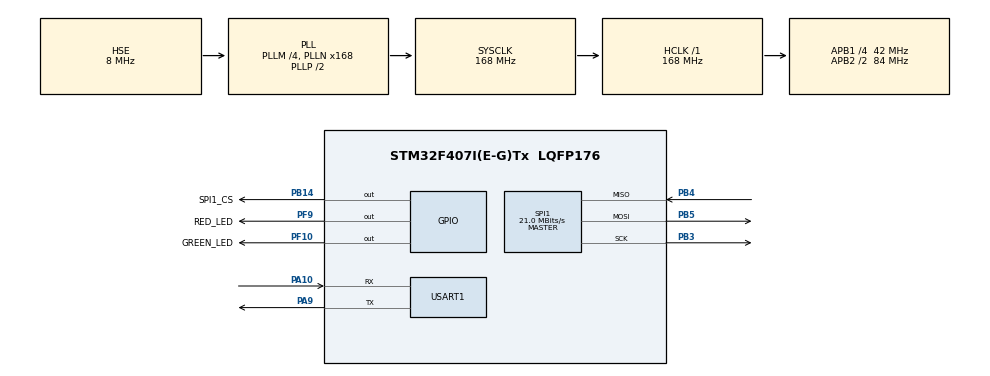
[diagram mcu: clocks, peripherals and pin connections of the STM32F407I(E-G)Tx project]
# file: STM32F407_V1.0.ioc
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Mcu.Family=STM32F4
Mcu.Name=STM32F407I(E-G)Tx
Mcu.Package=LQFP176
NVIC.PriorityGroup=NVIC_PRIORITYGROUP_4
NVIC.TIM6_DAC_IRQn=true\:15\:0\:false\:false\:true\:false\:true\:true
NVIC.TimeBase=TIM6_DAC_IRQn
NVIC.TimeBaseIP=TIM6
PA10.Mode=Asynchronous
PA10.Signal=USART1_RX
PA13.Mode=Serial_Wire
PA13.Signal=SYS_JTMS-SWDIO
PA14.Mode=Serial_Wire
PA14.Signal=SYS_JTCK-SWCLK
PA9.Mode=Asynchronous
PA9.Signal=USART1_TX
PB14.GPIO_Label=SPI1_CS
PB14.GPIO_Speed=GPIO_SPEED_FREQ_VERY_HIGH
PB14.PinState=GPIO_PIN_SET
PB14.Signal=GPIO_Output
PB3.Mode=Full_Duplex_Master
PB3.Signal=SPI1_SCK
PB4.Mode=Full_Duplex_Master
PB4.Signal=SPI1_MISO
PB5.Mode=Full_Duplex_Master
PB5.Signal=SPI1_MOSI
PC14-OSC32_IN.Mode=LSE-External-Oscillator
PC14-OSC32_IN.Signal=RCC_OSC32_IN
PC15-OSC32_OUT.Mode=LSE-External-Oscillator
PC15-OSC32_OUT.Signal=RCC_OSC32_OUT
PF10.GPIO_Label=GREEN_LED
PF10.GPIO_Speed=GPIO_SPEED_FREQ_MEDIUM
PF10.PinState=GPIO_PIN_SET
PF10.Signal=GPIO_Output
PF9.GPIO_Label=RED_LED
PF9.GPIO_Speed=GPIO_SPEED_FREQ_MEDIUM
PF9.PinState=GPIO_PIN_SET
PF9.Signal=GPIO_Output
PH0-OSC_IN.Mode=HSE-External-Oscillator
PH0-OSC_IN.Signal=RCC_OSC_IN
PH1-OSC_OUT.Mode=HSE-External-Oscillator
PH1-OSC_OUT.Signal=RCC_OSC_OUT
ProjectManager.HeapSize=0x200
ProjectManager.StackSize=0x400
ProjectManager.TargetToolchain=MDK-ARM V5.32
RCC.48MHZClocksFreq_Value=84000000
RCC.AHBFreq_Value=168000000
RCC.APB1CLKDivider=RCC_HCLK_DIV4
RCC.APB1Freq_Value=42000000
RCC.APB1TimFreq_Value=84000000
RCC.APB2CLKDivider=RCC_HCLK_DIV2
RCC.APB2Freq_Value=84000000
RCC.APB2TimFreq_Value=168000000
RCC.CortexFreq_Value=168000000
RCC.HCLKFreq_Value=168000000
RCC.HSE_VALUE=8000000
RCC.HSI_VALUE=16000000
RCC.PLLM=4
RCC.PLLN=168
RCC.PLLSourceVirtual=RCC_PLLSOURCE_HSE
RCC.RCC_RTC_Clock_SourceVirtual=RCC_RTCCLKSOURCE_LSE
RCC.RCC_RTC_Clock_Source_FROM_HSE=RCC_RTCCLKSOURCE_HSE_DIV8
RCC.SYSCLKFreq_VALUE=168000000
RCC.SYSCLKSource=RCC_SYSCLKSOURCE_PLLCLK
RCC.VCOOutputFreq_Value=336000000
RTC.Date=1
RTC.Format=RTC_FORMAT_BIN
RTC.Hours=9
RTC.Minutes=10
RTC.Month=RTC_MONTH_JULY
RTC.WeekDay=RTC_WEEKDAY_WEDNESDAY
RTC.Year=25
SPI1.BaudRatePrescaler=SPI_BAUDRATEPRESCALER_4
SPI1.CLKPhase=SPI_PHASE_2EDGE
SPI1.CLKPolarity=SPI_POLARITY_HIGH
SPI1.CalculateBaudRate=21.0 MBits/s
SPI1.Direction=SPI_DIRECTION_2LINES
SPI1.Mode=SPI_MODE_MASTER
SPI1.VirtualType=VM_MASTER
USART1.VirtualMode=VM_ASYNC
VP_RTC_VS_RTC_Activate.Mode=RTC_Enabled
VP_RTC_VS_RTC_Calendar.Mode=RTC_Calendar
VP_SYS_VS_tim6.Mode=TIM6
board=custom

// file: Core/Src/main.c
/* USER CODE BEGIN Header */
/**
 ******************************************************************************
 * @file           : main.c
 * @brief          : Main program body
 ******************************************************************************
 * @attention
 *
 * Copyright (c) 2025 STMicroelectronics.
 * All rights reserved.
 *
 * This software is licensed under terms that can be found in the LICENSE file
 * in the root directory of this software component.
 * If no LICENSE file comes with this software, it is provided AS-IS.
 *
 ******************************************************************************
 */
/* USER CODE END Header */
#include "main.h"
#include "rtc.h"
#include "spi.h"
#include "usart.h"
#include "gpio.h"

/* USER CODE BEGIN Includes */
#include "sfud.h"
#include <stdio.h>
#include <stdlib.h>
#include "sfud_app.h"
#include "dwt.h"
#include "flashdb_app.h"

/* USER CODE END Includes */

/* USER CODE BEGIN PTD */
#define SFUD_DEMO_TEST_BUFFER_SIZE 10 * 1024
/* USER CODE END PTD */

/* USER CODE BEGIN PD */
static uint8_t sfud_demo_test_buf[SFUD_DEMO_TEST_BUFFER_SIZE];
/* USER CODE END PD */

void SystemClock_Config(void);

int main(void)
{

  /* USER CODE BEGIN 1 */
  static RTC_TimeTypeDef time;
  static RTC_DateTypeDef date;
  /* USER CODE END 1 */

  /* MCU Configuration--------------------------------------------------------*/

  /* Reset of all peripherals, Initializes the Flash interface and the Systick. */
  HAL_Init();

  /* Configure the system clock */
  SystemClock_Config();

  /* Initialize all configured peripherals */
  MX_GPIO_Init();
  MX_RTC_Init();
  MX_USART1_UART_Init();
  MX_SPI1_Init();
  /* USER CODE BEGIN 2 */
  DWT_Init(); /* DWT 初始化 */

  // printf("HelloWorld!\r\n");
  HAL_RTC_GetTime(&hrtc, &time, RTC_FORMAT_BIN);
  HAL_RTC_GetDate(&hrtc, &date, RTC_FORMAT_BIN);
  printf("RTC: 20%02d/%02d/%02d  %02d:%02d:%02d\r\n",
         date.Year, date.Month, date.Date, time.Hours, time.Minutes, time.Seconds);

  // if (sfud_init() != SFUD_SUCCESS)
  //   printf("sfud_init False!\r\n");
  // else
  //   sfud_demo(0, sizeof(sfud_demo_test_buf), sfud_demo_test_buf);

	spi_flash_init();

  HAL_Delay(100);
  flashdb_app_Start();
  /* USER CODE END 2 */

  /* Infinite loop */
  while (1)
  {

    /* USER CODE BEGIN 3 */
    RED_LED(0);
    HAL_Delay(50);
    RED_LED(1);
    HAL_Delay(50);
    RED_LED(0);
    HAL_Delay(50);
    RED_LED(1);
    HAL_Delay(800);
  }
  /* USER CODE END 3 */
}

void SystemClock_Config(void)
{
  RCC_OscInitTypeDef RCC_OscInitStruct = {0};
  RCC_ClkInitTypeDef RCC_ClkInitStruct = {0};

  /** Configure the main internal regulator output voltage
  */
  __HAL_RCC_PWR_CLK_ENABLE();
  __HAL_PWR_VOLTAGESCALING_CONFIG(PWR_REGULATOR_VOLTAGE_SCALE1);

  /** Initializes the RCC Oscillators according to the specified parameters
  * in the RCC_OscInitTypeDef structure.
  */
  RCC_OscInitStruct.OscillatorType = RCC_OSCILLATORTYPE_HSE|RCC_OSCILLATORTYPE_LSE;
  RCC_OscInitStruct.HSEState = RCC_HSE_ON;
  RCC_OscInitStruct.LSEState = RCC_LSE_ON;
  RCC_OscInitStruct.PLL.PLLState = RCC_PLL_ON;
  RCC_OscInitStruct.PLL.PLLSource = RCC_PLLSOURCE_HSE;
  RCC_OscInitStruct.PLL.PLLM = 4;
  RCC_OscInitStruct.PLL.PLLN = 168;
  RCC_OscInitStruct.PLL.PLLP = RCC_PLLP_DIV2;
  RCC_OscInitStruct.PLL.PLLQ = 4;
  if (HAL_RCC_OscConfig(&RCC_OscInitStruct) != HAL_OK)
  {
    Error_Handler();
  }

  /** Initializes the CPU, AHB and APB buses clocks
  */
  RCC_ClkInitStruct.ClockType = RCC_CLOCKTYPE_HCLK|RCC_CLOCKTYPE_SYSCLK
                              |RCC_CLOCKTYPE_PCLK1|RCC_CLOCKTYPE_PCLK2;
  RCC_ClkInitStruct.SYSCLKSource = RCC_SYSCLKSOURCE_PLLCLK;
  RCC_ClkInitStruct.AHBCLKDivider = RCC_SYSCLK_DIV1;
  RCC_ClkInitStruct.APB1CLKDivider = RCC_HCLK_DIV4;
  RCC_ClkInitStruct.APB2CLKDivider = RCC_HCLK_DIV2;

  if (HAL_RCC_ClockConfig(&RCC_ClkInitStruct, FLASH_LATENCY_5) != HAL_OK)
  {
    Error_Handler();
  }
}

void HAL_TIM_PeriodElapsedCallback(TIM_HandleTypeDef *htim)
{
  if (htim->Instance == TIM6)
  {
    HAL_IncTick();
  }
}

void Error_Handler(void)
{
  __disable_irq();
  while (1)
  {
  }
}
